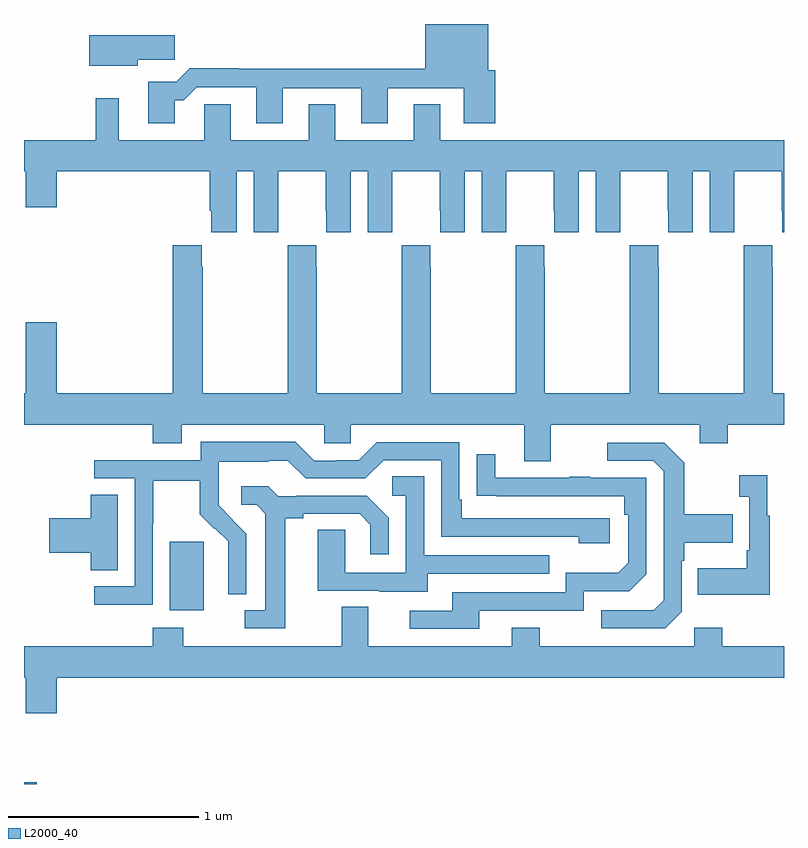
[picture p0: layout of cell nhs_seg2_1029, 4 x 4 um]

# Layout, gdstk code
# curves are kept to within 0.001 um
import gdstk
lib = gdstk.Library(unit=1e-6, precision=1e-09)
def R(c, l, rs):  # rectangles x0, y0, x1, y1
    for r in rs: c.add(gdstk.rectangle(r[:2], r[2:], *l))
def P(c, l, *ps):  # polygons
    for p in ps: c.add(gdstk.Polygon(p, *l))
L2000_40 = (2000, 40)

nhs_seg2_1029 = lib.new_cell('nhs_seg2_1029')
R(nhs_seg2_1029, L2000_40, [(165,589.8,165.067,589.808), (165.767,590.714,165.946,591.075)])
P(nhs_seg2_1029, L2000_40, [(165.793,593.399),(165.842,593.399),(165.909,593.466),(166.223,593.466),(166.223,593.277),(166.363,593.277),(166.363,593.463),(166.775,593.463),(166.775,593.277),(166.915,593.277),(166.915,593.463),(167.315,593.463),(167.315,593.277),(167.48,593.277),(167.48,593.556),(167.443,593.556),(167.443,593.8),(167.111,593.8),(167.111,593.564),(166.127,593.564),(166.127,593.567),(165.872,593.567),(165.802,593.497),(165.653,593.497),(165.653,593.277),(165.793,593.277)],
  [(165.598,593.611),(165.793,593.611),(165.793,593.74),(165.344,593.74),(165.344,593.579),(165.598,593.579)],
  [(167.051,593.188),(166.639,593.188),(166.639,593.378),(166.499,593.378),(166.499,593.188),(166.087,593.188),(166.087,593.378),(165.948,593.378),(165.948,593.188),(165.499,593.188),(165.499,593.41),(165.378,593.41),(165.378,593.188),(165,593.188),(165,593.024),(165.008,593.024),(165.008,592.836),(165.172,592.836),(165.172,593.024),(165.977,593.024),(165.977,592.816),(165.986,592.816),(165.986,592.704),(166.12,592.704),(166.12,593.024),(166.208,593.024),(166.208,592.704),(166.338,592.704),(166.338,592.816),(166.339,592.816),(166.339,593.024),(166.589,593.024),(166.589,592.816),(166.59,592.816),(166.59,592.704),(166.72,592.704),(166.72,593.024),(166.808,593.024),(166.808,592.704),(166.938,592.704),(166.938,592.816),(166.939,592.816),(166.939,593.024),(167.189,593.024),(167.189,592.816),(167.19,592.816),(167.19,592.704),(167.32,592.704),(167.32,593.024),(167.408,593.024),(167.408,592.704),(167.538,592.704),(167.538,592.816),(167.539,592.816),(167.539,593.024),(167.789,593.024),(167.789,592.816),(167.79,592.816),(167.79,592.704),(167.92,592.704),(167.92,593.024),(168.008,593.024),(168.008,592.704),(168.138,592.704),(168.138,592.816),(168.139,592.816),(168.139,593.024),(168.389,593.024),(168.389,592.816),(168.39,592.816),(168.39,592.704),(168.52,592.704),(168.52,593.024),(168.608,593.024),(168.608,592.704),(168.738,592.704),(168.738,592.816),(168.739,592.816),(168.739,593.024),(168.989,593.024),(168.989,592.816),(168.99,592.816),(168.99,592.704),(169,592.704),(169,593.188),(167.191,593.188),(167.191,593.378),(167.051,593.378)],
  [(167.139,592.523),(167.139,592.636),(166.989,592.636),(166.989,592.523),(166.987,592.523),(166.987,591.856),(166.542,591.856),(166.542,592.523),(166.539,592.523),(166.539,592.636),(166.389,592.636),(166.389,592.523),(166.387,592.523),(166.387,591.856),(165.942,591.856),(165.942,592.523),(165.935,592.523),(165.935,592.636),(165.782,592.636),(165.782,591.856),(165.172,591.856),(165.172,592.231),(165.008,592.231),(165.008,591.856),(165,591.856),(165,591.692),(165.677,591.692),(165.677,591.593),(165.829,591.593),(165.829,591.692),(166.581,591.692),(166.581,591.594),(166.719,591.594),(166.719,591.692),(167.633,591.692),(167.633,591.498),(167.773,591.498),(167.773,591.692),(168.557,591.692),(168.557,591.593),(168.705,591.593),(168.705,591.692),(169,591.692),(169,591.856),(168.942,591.856),(168.942,592.523),(168.939,592.523),(168.939,592.636),(168.789,592.636),(168.789,592.523),(168.787,592.523),(168.787,591.856),(168.342,591.856),(168.342,592.523),(168.339,592.523),(168.339,592.636),(168.189,592.636),(168.189,592.523),(168.187,592.523),(168.187,591.856),(167.742,591.856),(167.742,592.523),(167.739,592.523),(167.739,592.636),(167.589,592.636),(167.589,592.523),(167.587,592.523),(167.587,591.856),(167.142,591.856),(167.142,592.523)],
  [(165.678,591.172),(165.681,591.172),(165.681,591.396),(165.925,591.396),(165.925,591.221),(166.002,591.144),(166.005,591.147),(166.076,591.077),(166.076,590.954),(166.074,590.954),(166.074,590.8),(166.17,590.8),(166.17,591.118),(166.024,591.266),(166.024,591.363),(166.026,591.363),(166.026,591.497),(166.289,591.497),(166.289,591.501),(166.389,591.501),(166.482,591.408),(166.797,591.408),(166.893,591.504),(167.196,591.504),(167.196,591.102),(167.921,591.102),(167.921,591.068),(168.082,591.068),(168.082,591.198),(167.305,591.198),(167.305,591.295),(167.292,591.295),(167.292,591.6),(166.857,591.6),(166.761,591.504),(166.643,591.504),(166.643,591.501),(166.527,591.501),(166.427,591.601),(165.93,591.601),(165.93,591.504),(165.369,591.504),(165.369,591.408),(165.582,591.408),(165.582,590.841),(165.369,590.841),(165.369,590.743),(165.678,590.743)],
  [(168.462,590.706),(168.462,590.975),(168.475,590.975),(168.475,591.071),(168.731,591.071),(168.731,591.219),(168.475,591.219),(168.475,591.491),(168.369,591.597),(168.069,591.597),(168.069,591.501),(168.312,591.501),(168.366,591.447),(168.366,590.766),(168.315,590.715),(168.039,590.715),(168.039,590.619),(168.375,590.619)],
  [(167.395,590.712),(167.946,590.712),(167.946,590.814),(168.186,590.814),(168.276,590.904),(168.276,591.411),(167.981,591.411),(167.981,591.416),(167.869,591.416),(167.869,591.411),(167.479,591.411),(167.479,591.535),(167.383,591.535),(167.383,591.316),(168.16,591.315),(168.16,591.218),(168.18,591.218),(168.18,590.964),(168.127,590.911),(167.85,590.911),(167.85,590.808),(167.255,590.808),(167.255,590.712),(167.031,590.712),(167.031,590.616),(167.395,590.616)],
  [(168.925,591.211),(168.913,591.211),(168.913,591.424),(168.765,591.424),(168.765,591.311),(168.816,591.311),(168.816,591.031),(168.804,591.031),(168.804,590.935),(168.547,590.935),(168.547,590.795),(168.925,590.795)],
  [(167.125,590.907),(167.765,590.907),(167.765,591.003),(167.106,591.003),(167.106,591.419),(166.938,591.419),(166.938,591.318),(167.01,591.318),(167.01,590.913),(166.692,590.913),(166.692,591.137),(166.547,591.137),(166.547,590.817),(166.871,590.817),(166.871,590.813),(167.125,590.813)],
  [(166.375,591.2),(166.471,591.2),(166.471,591.222),(166.766,591.222),(166.823,591.165),(166.823,591.009),(166.92,591.009),(166.92,591.202),(166.804,591.318),(166.432,591.318),(166.432,591.315),(166.338,591.315),(166.286,591.367),(166.143,591.367),(166.143,591.27),(166.224,591.27),(166.271,591.223),(166.271,590.715),(166.161,590.715),(166.161,590.619),(166.375,590.619)],
  [(165.493,591.323),(165.35,591.323),(165.35,591.2),(165.132,591.2),(165.132,591.017),(165.35,591.017),(165.35,590.926),(165.493,590.926)],
  [(165.172,590.36),(169,590.36),(169,590.524),(168.675,590.524),(168.675,590.623),(168.528,590.623),(168.528,590.524),(167.715,590.524),(167.715,590.623),(167.567,590.623),(167.567,590.524),(166.813,590.524),(166.813,590.732),(166.673,590.732),(166.673,590.524),(165.837,590.524),(165.837,590.623),(165.677,590.623),(165.677,590.524),(165,590.524),(165,590.36),(165.008,590.36),(165.008,590.172),(165.172,590.172)])

lib.write_gds('nhs_seg2_1029.gds')
